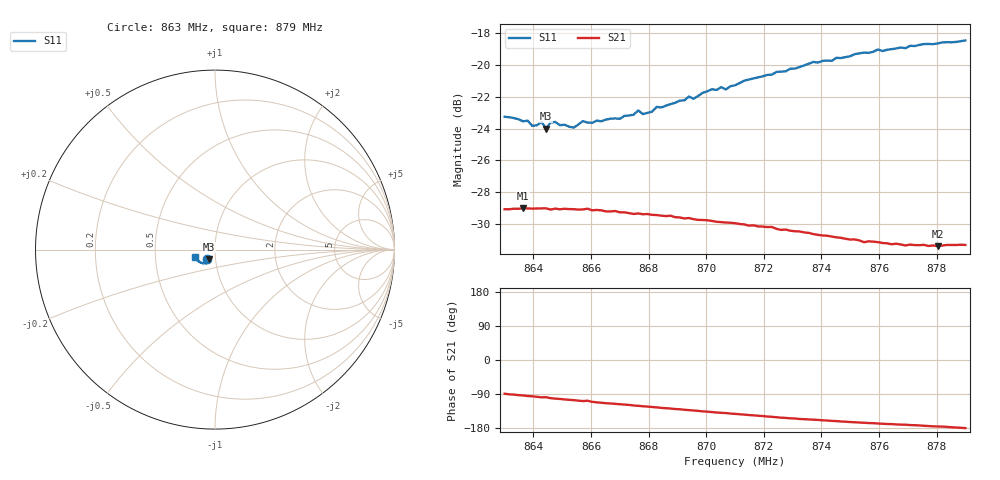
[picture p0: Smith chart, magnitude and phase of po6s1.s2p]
# HZ S RI R 50
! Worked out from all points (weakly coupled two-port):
!   101 points, 863 MHz to 879 MHz, reference 50 ohm
!   highest |S21| = -29.02 dB at 863.64 MHz (marker M1); lowest = -31.4 dB at 878.04 MHz (marker M2)
!   lowest |S11| = -24.0 dB at 864.44 MHz (marker M3), VSWR 1.13, Z = 46.3 - j4.83 ohm
!   |S11| at or under -10 dB: start of sweep to end of sweep
!   S12 and S22 are empty: the file has one direction only
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8.63e8  -0.0443 -0.0526  0.000631 -0.0351  0 0  0 0
8.6364e8  -0.041 -0.0524  -0.00217 -0.0353  0 0  0 0
8.638e8  -0.0413 -0.0525  -0.00308 -0.0352  0 0  0 0
8.6396e8  -0.0388 -0.0513  -0.00357 -0.0351  0 0  0 0
8.6428e8  -0.0383 -0.054  -0.00523 -0.035  0 0  0 0
8.6444e8  -0.0358 -0.0519  -0.00498 -0.035  0 0  0 0
8.646e8  -0.0376 -0.0542  -0.00655 -0.0344  0 0  0 0
8.654e8  -0.0334 -0.0541  -0.00966 -0.0338  0 0  0 0
8.6572e8  -0.0346 -0.0569  -0.0111 -0.0333  0 0  0 0
8.67e8  -0.0326 -0.0593  -0.0154 -0.0307  0 0  0 0
8.6764e8  -0.0352 -0.0627  -0.0175 -0.0292  0 0  0 0
8.678e8  -0.0339 -0.0613  -0.018 -0.0287  0 0  0 0
8.6844e8  -0.0352 -0.0646  -0.0199 -0.027  0 0  0 0
8.694e8  -0.0385 -0.0696  -0.0222 -0.0244  0 0  0 0
8.6956e8  -0.0379 -0.0685  -0.0224 -0.0238  0 0  0 0
8.702e8  -0.0418 -0.0728  -0.0237 -0.0219  0 0  0 0
8.7068e8  -0.0426 -0.0721  -0.0244 -0.0205  0 0  0 0
8.71e8  -0.0454 -0.0735  -0.0251 -0.0195  0 0  0 0
8.7372e8  -0.0674 -0.077  -0.0271 -0.0112  0 0  0 0
8.7644e8  -0.0923 -0.0638  -0.0268 -0.00512  0 0  0 0
8.7804e8  -0.1051 -0.0515  -0.0268 -0.00212  0 0  0 0
8.79e8  -0.1123 -0.0411  -0.0271 -0.000144  0 0  0 0
